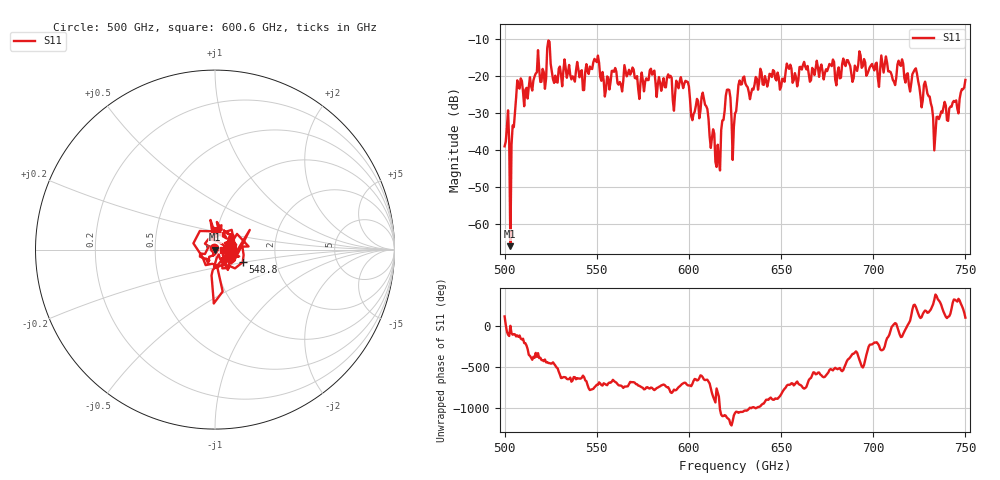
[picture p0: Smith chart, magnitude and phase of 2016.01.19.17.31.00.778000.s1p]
!Created with skrf (http://scikit-rf.org).
# GHz S RI R 50.0
!freq ReS11 ImS11
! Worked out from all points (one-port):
!   401 points, 500 GHz to 750 GHz, reference 50 ohm
!   lowest |S11| = -65.8 dB at 503.1 GHz (marker M1), VSWR 1.00, Z = 50.1 - j2.01e-06 ohm
!   |S11| at or under -10 dB: start of sweep to end of sweep
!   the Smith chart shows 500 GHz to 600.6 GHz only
!   S11 on the Smith chart (normalised r, x): 500 GHz: 0.99, +0.02; 548.8 GHz: 1.35, -0.20; 600.6 GHz: 1.10, -0.01
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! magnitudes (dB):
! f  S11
! 500 GHz  -39.0
! 503.1 GHz  -65.8
! 504.4 GHz  -33.3
! 505.6 GHz  -30.0
! 508.1 GHz  -23.4
! 521.2 GHz  -19.0
! 524.4 GHz  -10.8
! 527.5 GHz  -19.9
! 531.2 GHz  -22.8
! 548.8 GHz  -15.4
! 562.5 GHz  -21.6
! 568.8 GHz  -19.0
! 593.8 GHz  -22.2
! 600.6 GHz  -26.5
! 608.8 GHz  -27.7
! 615.6 GHz  -38.5
! 621.2 GHz  -23.7
! 625 GHz  -30.1
! 628.8 GHz  -22.2
! 656.2 GHz  -21.8
! 687.5 GHz  -17.3
! 705.6 GHz  -19.1
! 711.2 GHz  -21.6
! 715 GHz  -17.3
! 718.8 GHz  -19.3
! 728.8 GHz  -22.9
! 734.4 GHz  -31.1
! 750 GHz  -21.1
